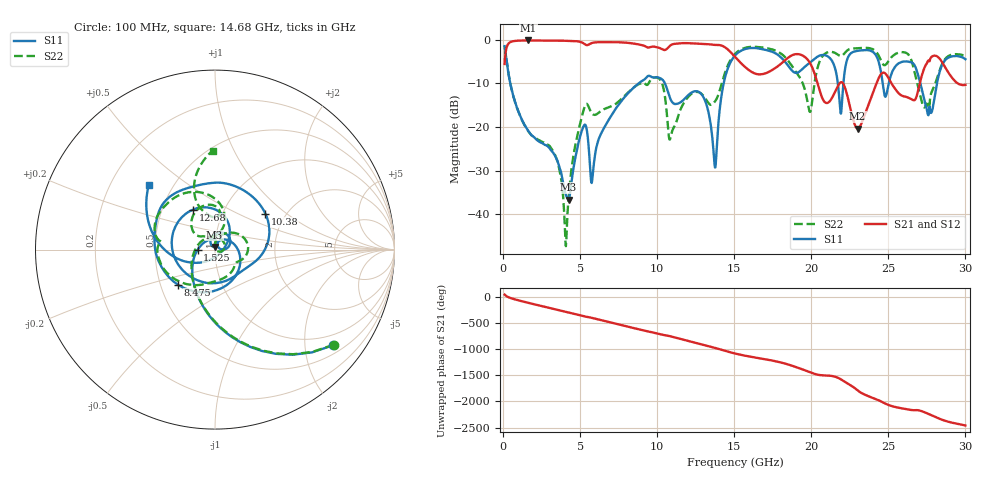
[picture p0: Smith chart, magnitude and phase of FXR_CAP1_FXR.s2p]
!Keysight Technologies,N5247B,MY61255062,A.15.50.07
!Date: Thursday, February 06, 2025 12:00:36
!Correction: S11(Cdelta 2-Port  )
!S21(Cdelta 2-Port  )
!S12(Cdelta 2-Port  )
!S22(Cdelta 2-Port  )
!S2P File: Measurements: S11, S21, S12, S22:
# Hz S  MA  R 50
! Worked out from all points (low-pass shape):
!   1197 points, 100 MHz to 30 GHz, reference 50 ohm
!   highest |S21| = -0.14 dB at 1.65 GHz (marker M1); lowest = -20.3 dB at 23 GHz (marker M2)
!   |S21| within 3 dB of the highest: 156.9 MHz to 14.85 GHz (14.7 GHz wide, 196 % of centre)
!   lowest |S11| = -36.6 dB at 4.25 GHz (marker M3), VSWR 1.03, Z = 49.7 + j1.45 ohm
!   |S11| at or under -10 dB: 469.6 MHz to 8.793 GHz (8.324 GHz wide, 180 % of centre); 10.51 GHz to 14.31 GHz (3.806 GHz wide, 30.7 % of centre); 27.08 GHz to 28.16 GHz (1.079 GHz wide, 3.91 % of centre)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
!   |S22| runs from -47.3 to -1.4 dB; largest |S21 - S12| = 0.00059
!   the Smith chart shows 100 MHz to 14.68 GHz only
!   S11 on the Smith chart (normalised r, x): 100 MHz: 0.70, -2.66; 1.525 GHz: 0.82, -0.00; 8.475 GHz: 0.62, -0.26; 10.38 GHz: 1.58, +0.72; 12.68 GHz: 0.71, +0.34; 14.68 GHz: 0.37, +0.36
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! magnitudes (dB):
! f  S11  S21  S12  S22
! 100 MHz  -1.4  -5.5  -5.5  -1.4
! 1.525 GHz  -20.3  -0.1  -0.1  -20.4
! 1.65 GHz  -21.0  -0.1  -0.1  -21.0
! 4.05 GHz  -35.3  -0.2  -0.2  -46.3
! 4.25 GHz  -36.6  -0.2  -0.2  -36.2
! 5.1 GHz  -20.9  -0.6  -0.6  -17.8
! 5.775 GHz  -32.5  -0.7  -0.7  -16.9
! 8.475 GHz  -10.9  -0.9  -0.9  -11.0
! 10.07 GHz  -8.6  -1.8  -1.8  -8.8
! 10.38 GHz  -9.2  -2.2  -2.2  -10.6
! 10.85 GHz  -13.5  -1.3  -1.3  -22.6
! 12.68 GHz  -11.9  -0.9  -0.9  -12.0
! 13.75 GHz  -29.3  -1.2  -1.2  -14.1
! 14.68 GHz  -5.8  -2.5  -2.5  -5.2
! 15.05 GHz  -3.6  -3.9  -3.9  -3.2
! 20.05 GHz  -4.8  -6.2  -6.2  -14.3
! 21.9 GHz  -16.7  -9.8  -9.8  -3.7
! 23 GHz  -2.5  -20.3  -20.3  -1.9
! 25.02 GHz  -10.0  -8.9  -8.9  -4.8
! 26.52 GHz  -5.2  -13.7  -13.7  -5.0
! 27.4 GHz  -14.7  -5.9  -6.0  -15.2
! 30 GHz  -4.4  -10.3  -10.3  -3.7
